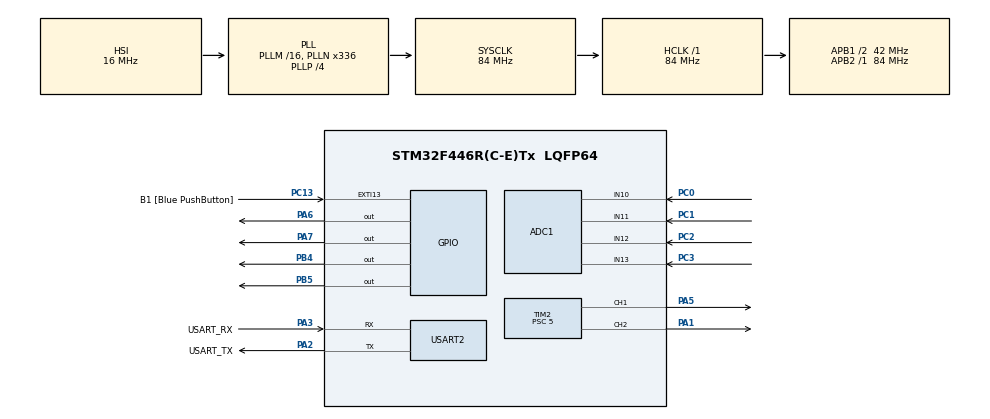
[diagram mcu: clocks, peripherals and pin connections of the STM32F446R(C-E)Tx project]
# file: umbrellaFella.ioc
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ADC1.Channel-0\#ChannelRegularConversion=ADC_CHANNEL_10
ADC1.InjNumberOfConversion=0
ADC1.NbrOfConversion=1
ADC1.NbrOfConversionFlag=1
ADC1.Rank-0\#ChannelRegularConversion=1
ADC1.SamplingTime-0\#ChannelRegularConversion=ADC_SAMPLETIME_3CYCLES
ADC1.ScanConvMode=DISABLE
ADC1.master=1
Mcu.Family=STM32F4
Mcu.Name=STM32F446R(C-E)Tx
Mcu.Package=LQFP64
NVIC.PriorityGroup=NVIC_PRIORITYGROUP_0
PA1.Signal=S_TIM2_CH2
PA13.GPIO_Label=TMS
PA13.Mode=Serial_Wire
PA13.Signal=SYS_JTMS-SWDIO
PA14.GPIO_Label=TCK
PA14.Mode=Serial_Wire
PA14.Signal=SYS_JTCK-SWCLK
PA2.GPIO_Label=USART_TX
PA2.Mode=Asynchronous
PA2.Signal=USART2_TX
PA3.GPIO_Label=USART_RX
PA3.Mode=Asynchronous
PA3.Signal=USART2_RX
PA5.Signal=S_TIM2_CH1_ETR
PA6.Signal=GPIO_Output
PA7.Signal=GPIO_Output
PB3.GPIO_Label=SWO
PB3.Signal=SYS_JTDO-SWO
PB4.Signal=GPIO_Output
PB5.Signal=GPIO_Output
PC0.Signal=ADCx_IN10
PC1.Signal=ADCx_IN11
PC13.GPIO_Label=B1 [Blue PushButton]
PC13.GPIO_ModeDefaultEXTI=GPIO_MODE_IT_FALLING
PC13.Signal=GPXTI13
PC14-OSC32_IN.Mode=LSE-External-Oscillator
PC14-OSC32_IN.Signal=RCC_OSC32_IN
PC15-OSC32_OUT.Mode=LSE-External-Oscillator
PC15-OSC32_OUT.Signal=RCC_OSC32_OUT
PC2.Signal=ADCx_IN12
PC3.Signal=ADCx_IN13
PH0-OSC_IN.Mode=HSE-External-Oscillator
PH0-OSC_IN.Signal=RCC_OSC_IN
PH1-OSC_OUT.Mode=HSE-External-Oscillator
PH1-OSC_OUT.Signal=RCC_OSC_OUT
ProjectManager.HeapSize=0x200
ProjectManager.StackSize=0x400
ProjectManager.TargetToolchain=STM32CubeIDE
RCC.48MHZClocksFreq_Value=84000000
RCC.AHBFreq_Value=84000000
RCC.APB1CLKDivider=RCC_HCLK_DIV2
RCC.APB1Freq_Value=42000000
RCC.APB1TimFreq_Value=84000000
RCC.APB2Freq_Value=84000000
RCC.APB2TimFreq_Value=84000000
RCC.CortexFreq_Value=84000000
RCC.FLatency-AdvancedSettings=FLASH_LATENCY_2
RCC.HCLKFreq_Value=84000000
RCC.HSE_VALUE=8000000
RCC.HSI_VALUE=16000000
RCC.PLLN=336
RCC.PLLP=RCC_PLLP_DIV4
RCC.SYSCLKFreq_VALUE=84000000
RCC.SYSCLKSource=RCC_SYSCLKSOURCE_PLLCLK
RCC.USBFreq_Value=168000000
RCC.VCOOutputFreq_Value=336000000
SH.ADCx_IN10.0=ADC1_IN10,IN10
SH.ADCx_IN11.0=ADC1_IN11,IN11
SH.ADCx_IN12.0=ADC1_IN12,IN12
SH.ADCx_IN13.0=ADC1_IN13,IN13
SH.S_TIM2_CH1_ETR.0=TIM2_CH1,PWM Generation1 CH1
SH.S_TIM2_CH2.0=TIM2_CH2,PWM Generation2 CH2
TIM2.Channel-PWM\ Generation1\ CH1=TIM_CHANNEL_1
TIM2.Channel-PWM\ Generation2\ CH2=TIM_CHANNEL_2
TIM2.Period=874
TIM2.Prescaler=5
USART2.VirtualMode=VM_ASYNC
board=NUCLEO-F446RE

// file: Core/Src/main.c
/* USER CODE BEGIN Header */
/**
  ******************************************************************************
  * @file           : main.c
  * @brief          : Main program body
  ******************************************************************************
  * @attention
  *
  * Copyright (c) 2025 STMicroelectronics.
  * All rights reserved.
  *
  * This software is licensed under terms that can be found in the LICENSE file
  * in the root directory of this software component.
  * If no LICENSE file comes with this software, it is provided AS-IS.
  *
  ******************************************************************************
  */
/* USER CODE END Header */
#include "main.h"

/* USER CODE BEGIN Includes */
#include<stdio.h>
#include<math.h>
#include<stdlib.h>
/* USER CODE END Includes */

ADC_HandleTypeDef hadc1;

TIM_HandleTypeDef htim2;

UART_HandleTypeDef huart2;

void SystemClock_Config(void);
static void MX_GPIO_Init(void);
static void MX_USART2_UART_Init(void);
static void MX_ADC1_Init(void);
static void MX_TIM2_Init(void);
/* USER CODE BEGIN PFP */

	uint32_t read_adc_channel(uint32_t channel) {
		ADC_ChannelConfTypeDef sConfig = {0};

		sConfig.Channel = channel;			//Cycles setting different channels to read
		sConfig.Rank = 1;					//Prioritizes current channel
		sConfig.SamplingTime = ADC_SAMPLETIME_3CYCLES;
		sConfig.Offset = 0;

		//If channel configuration fails enter error handler
		if(HAL_ADC_ConfigChannel(&hadc1, &sConfig) != HAL_OK) {
			Error_Handler();
		}

		HAL_ADC_Start(&hadc1);
		HAL_ADC_PollForConversion(&hadc1, HAL_MAX_DELAY);
		return HAL_ADC_GetValue(&hadc1);

	}

	int __io_putchar(int ch)
	{
	    HAL_UART_Transmit(&huart2, (uint8_t *)&ch, 1, HAL_MAX_DELAY);
	    return ch;
	}
/* USER CODE END PFP */

int main(void)
{

  /* MCU Configuration--------------------------------------------------------*/

  /* Reset of all peripherals, Initializes the Flash interface and the Systick. */
  HAL_Init();

  /* Configure the system clock */
  SystemClock_Config();

  /* Initialize all configured peripherals */
  MX_GPIO_Init();
  MX_USART2_UART_Init();
  MX_ADC1_Init();
  MX_TIM2_Init();
  /* USER CODE BEGIN 2 */
  HAL_TIM_PWM_Start(&htim2, TIM_CHANNEL_1);
  HAL_TIM_PWM_Start(&htim2, TIM_CHANNEL_2);

	 unsigned int arr = __HAL_TIM_GET_AUTORELOAD(&htim2);
	 int n, s, e, w;
	 GPIO_PinState inA_ns, inB_ns, inA_ew, inB_ew;
	 int nsDiff, ewDiff;
	 int CCR_ch1, CCR_ch2;
	 int pwmMax = (int)(0.85*arr);
	 int pwmMin = (int)(0.25*arr);
	 int pwmStart = 100;
	 int pwmDead = 75;
	 int maxDiff = 340;
  /* USER CODE END 2 */

  /* Infinite loop */
  /* USER CODE BEGIN WHILE */
  while (1)
  {
	  n = read_adc_channel(ADC_CHANNEL_10);
	  s = read_adc_channel(ADC_CHANNEL_11);
	  w = read_adc_channel(ADC_CHANNEL_12);
	  e = read_adc_channel(ADC_CHANNEL_13);
	  nsDiff = n-s;
	  ewDiff = e-w;
//==============================Linear Actuator(NORTH/SOUTH)===================================
	  //If difference is greater than 100 start
	  if(abs(nsDiff) >= pwmStart) {

		  //If difference is greater than 340 clamp to max PWM speed
		  if(abs(nsDiff) > maxDiff){
			  //Handles direction based on the NORTH/SOUTH difference sign (MAX PWM)
			  if(nsDiff > 0) {
				  HAL_GPIO_WritePin(GPIOA, GPIO_PIN_6, GPIO_PIN_SET);
				  HAL_GPIO_WritePin(GPIOA, GPIO_PIN_7, GPIO_PIN_RESET);
				  CCR_ch1 = pwmMax;
				  __HAL_TIM_SET_COMPARE(&htim2, TIM_CHANNEL_1, CCR_ch1);

				  //Reading H-bridge directional pins into variables for debugging
				  inA_ns = HAL_GPIO_ReadPin(GPIOA, GPIO_PIN_6);
				  inB_ns = HAL_GPIO_ReadPin(GPIOA, GPIO_PIN_7);
			  }
			  //If difference is negative reverse direction of linear actuator at max PWM
			  else {
				  HAL_GPIO_WritePin(GPIOA, GPIO_PIN_6, GPIO_PIN_RESET);
				  HAL_GPIO_WritePin(GPIOA, GPIO_PIN_7, GPIO_PIN_SET);
				  CCR_ch1 = pwmMax;
				  __HAL_TIM_SET_COMPARE(&htim2, TIM_CHANNEL_1, CCR_ch1);

				  //Reading H-bridge directional pins into variables for debugging
				  inA_ns = HAL_GPIO_ReadPin(GPIOA, GPIO_PIN_6);
				  inB_ns = HAL_GPIO_ReadPin(GPIOA, GPIO_PIN_7);
			  }
		  }
		  //Handles direction based on the NORTH/SOUTH difference sign (Variable PWN)
		  else if(nsDiff > 0) {
			  //Tilt South (set GPIO pin for forward direction INA and clear INB)
			  HAL_GPIO_WritePin(GPIOA, GPIO_PIN_6, GPIO_PIN_SET);
			  HAL_GPIO_WritePin(GPIOA, GPIO_PIN_7, GPIO_PIN_RESET);
			  CCR_ch1 = pwmMin + ((pwmMax-pwmMin)*abs(nsDiff)) / maxDiff;
			  __HAL_TIM_SET_COMPARE(&htim2, TIM_CHANNEL_1, CCR_ch1);

			  //Reading H-bridge directional pins into variables for debugging
			  inA_ns = HAL_GPIO_ReadPin(GPIOA, GPIO_PIN_6);
			  inB_ns = HAL_GPIO_ReadPin(GPIOA, GPIO_PIN_7);
		  }
		  //If difference is negative reverse direction of linear actuator at variable PWM
		  else {
			  //Tilt North (set GPIO pin for reverse direction INB and clear INA)
			  HAL_GPIO_WritePin(GPIOA, GPIO_PIN_6, GPIO_PIN_RESET);
			  HAL_GPIO_WritePin(GPIOA, GPIO_PIN_7, GPIO_PIN_SET);
			  CCR_ch1 = pwmMin + ((pwmMax-pwmMin)*abs(nsDiff)) / maxDiff;
			  __HAL_TIM_SET_COMPARE(&htim2, TIM_CHANNEL_1, CCR_ch1);

			  //Reading H-bridge directional pins into variables for debugging
			  inA_ns = HAL_GPIO_ReadPin(GPIOA, GPIO_PIN_6);
			  inB_ns = HAL_GPIO_ReadPin(GPIOA, GPIO_PIN_7);
		  }
	  }
	  //If difference is less than 70 stop the linear actuator
	  else if(abs(nsDiff) < pwmDead) {
		  CCR_ch1 = 0;
		  __HAL_TIM_SET_COMPARE(&htim2, TIM_CHANNEL_1, CCR_ch1);
		  HAL_GPIO_WritePin(GPIOA, GPIO_PIN_6, GPIO_PIN_RESET);
		  HAL_GPIO_WritePin(GPIOA, GPIO_PIN_7, GPIO_PIN_RESET);

		  //Reading H-bridge directional pins into variables for debugging
		  inA_ns = HAL_GPIO_ReadPin(GPIOA, GPIO_PIN_6);
		  inB_ns = HAL_GPIO_ReadPin(GPIOA, GPIO_PIN_7);
	  }
//=====================================================================================
//==============================WORM GEAR(EAST/WEST)===================================
	  //If difference is greater than 100 start
	  if(abs(ewDiff) >= pwmStart) {
		  //If difference is greater than 340 clamp to max PWM speed
		  if(abs(ewDiff) > maxDiff){
			  //Handles direction based on the EAST/WEST difference sign (MAX PWM)
			  if(ewDiff > 0) {
				  HAL_GPIO_WritePin(GPIOB, GPIO_PIN_4, GPIO_PIN_SET);
				  HAL_GPIO_WritePin(GPIOB, GPIO_PIN_5, GPIO_PIN_RESET);
				  CCR_ch2 = pwmMax;
				  __HAL_TIM_SET_COMPARE(&htim2, TIM_CHANNEL_2, CCR_ch2);

				  //Reading H-bridge directional pins into variables for debugging
				  inA_ew = HAL_GPIO_ReadPin(GPIOB, GPIO_PIN_4);
				  inB_ew = HAL_GPIO_ReadPin(GPIOB, GPIO_PIN_5);
			  }
			  //If difference is negative reverse direction of worm gear at max PWM
			  else {
				  HAL_GPIO_WritePin(GPIOB, GPIO_PIN_4, GPIO_PIN_RESET);
				  HAL_GPIO_WritePin(GPIOB, GPIO_PIN_5, GPIO_PIN_SET);
				  CCR_ch2 = pwmMax;
				  __HAL_TIM_SET_COMPARE(&htim2, TIM_CHANNEL_2, CCR_ch2);

				  //Reading H-bridge directional pins into variables for debugging
				  inA_ew = HAL_GPIO_ReadPin(GPIOB, GPIO_PIN_4);
				  inB_ew = HAL_GPIO_ReadPin(GPIOB, GPIO_PIN_5);
			  }
		  }
		  //Handles direction based on the EAST/WEST difference sign (Variable PWM)
		  else if(ewDiff > 0) {
			  //Tilt West (set GPIO pin for forward direction INA and clear INB)
			  HAL_GPIO_WritePin(GPIOB, GPIO_PIN_4, GPIO_PIN_SET);
			  HAL_GPIO_WritePin(GPIOB, GPIO_PIN_5, GPIO_PIN_RESET);
			  CCR_ch2 = pwmMin + ((pwmMax-pwmMin)*abs(ewDiff)) / maxDiff;
			  __HAL_TIM_SET_COMPARE(&htim2, TIM_CHANNEL_2, CCR_ch2);

			  //Reading H-bridge directional pins into variables for debugging
			  inA_ew = HAL_GPIO_ReadPin(GPIOB, GPIO_PIN_4);
			  inB_ew = HAL_GPIO_ReadPin(GPIOB, GPIO_PIN_5);
		  }
		  //If difference is negative reverse direction of worm gear at variable PWM
		  else {
			  //Tilt East (set GPIO pin for reverse direction INB and clear INA)
			  HAL_GPIO_WritePin(GPIOB, GPIO_PIN_4, GPIO_PIN_RESET);
			  HAL_GPIO_WritePin(GPIOB, GPIO_PIN_5, GPIO_PIN_SET);
			  CCR_ch2 = pwmMin + ((pwmMax-pwmMin)*abs(ewDiff)) / maxDiff;
			  __HAL_TIM_SET_COMPARE(&htim2, TIM_CHANNEL_2, CCR_ch2);

			  //Reading H-bridge directional pins into variables for debugging
			  inA_ew = HAL_GPIO_ReadPin(GPIOB, GPIO_PIN_4);
			  inB_ew = HAL_GPIO_ReadPin(GPIOB, GPIO_PIN_5);
		  }
	  }
	  //If difference is less than 70 stop the worm gear
	  else if(abs(ewDiff) < pwmDead) {
		  CCR_ch2 = 0;
		  __HAL_TIM_SET_COMPARE(&htim2, TIM_CHANNEL_2, CCR_ch2);
		  HAL_GPIO_WritePin(GPIOB, GPIO_PIN_4, GPIO_PIN_RESET);
		  HAL_GPIO_WritePin(GPIOB, GPIO_PIN_5, GPIO_PIN_RESET);

		  //Reading H-bridge directional pins into variables for debugging
		  inA_ew = HAL_GPIO_ReadPin(GPIOB, GPIO_PIN_4);
		  inB_ew = HAL_GPIO_ReadPin(GPIOB, GPIO_PIN_5);
	  }
//=====================================================================================
	printf("Linear Actuator Value: %4d|Worm Gear Value: %4d|nsDiff: %4d|ewDiff: %4d|Extend(LA): %4d Retract(LA): %4d| Forward(WG): %4d Reverse(WG): %4d\r\n", CCR_ch1, CCR_ch2, nsDiff, ewDiff, inA_ns, inB_ns, inA_ew, inB_ew);
	HAL_Delay(1000);

    /* USER CODE END WHILE */

  }
}

void SystemClock_Config(void)
{
  RCC_OscInitTypeDef RCC_OscInitStruct = {0};
  RCC_ClkInitTypeDef RCC_ClkInitStruct = {0};

  /** Configure the main internal regulator output voltage
  */
  __HAL_RCC_PWR_CLK_ENABLE();
  __HAL_PWR_VOLTAGESCALING_CONFIG(PWR_REGULATOR_VOLTAGE_SCALE3);

  /** Initializes the RCC Oscillators according to the specified parameters
  * in the RCC_OscInitTypeDef structure.
  */
  RCC_OscInitStruct.OscillatorType = RCC_OSCILLATORTYPE_HSI;
  RCC_OscInitStruct.HSIState = RCC_HSI_ON;
  RCC_OscInitStruct.HSICalibrationValue = RCC_HSICALIBRATION_DEFAULT;
  RCC_OscInitStruct.PLL.PLLState = RCC_PLL_ON;
  RCC_OscInitStruct.PLL.PLLSource = RCC_PLLSOURCE_HSI;
  RCC_OscInitStruct.PLL.PLLM = 16;
  RCC_OscInitStruct.PLL.PLLN = 336;
  RCC_OscInitStruct.PLL.PLLP = RCC_PLLP_DIV4;
  RCC_OscInitStruct.PLL.PLLQ = 2;
  RCC_OscInitStruct.PLL.PLLR = 2;
  if (HAL_RCC_OscConfig(&RCC_OscInitStruct) != HAL_OK)
  {
    Error_Handler();
  }

  /** Initializes the CPU, AHB and APB buses clocks
  */
  RCC_ClkInitStruct.ClockType = RCC_CLOCKTYPE_HCLK|RCC_CLOCKTYPE_SYSCLK
                              |RCC_CLOCKTYPE_PCLK1|RCC_CLOCKTYPE_PCLK2;
  RCC_ClkInitStruct.SYSCLKSource = RCC_SYSCLKSOURCE_PLLCLK;
  RCC_ClkInitStruct.AHBCLKDivider = RCC_SYSCLK_DIV1;
  RCC_ClkInitStruct.APB1CLKDivider = RCC_HCLK_DIV2;
  RCC_ClkInitStruct.APB2CLKDivider = RCC_HCLK_DIV1;

  if (HAL_RCC_ClockConfig(&RCC_ClkInitStruct, FLASH_LATENCY_2) != HAL_OK)
  {
    Error_Handler();
  }
}

static void MX_ADC1_Init(void)
{

  ADC_ChannelConfTypeDef sConfig = {0};

  /** Configure the global features of the ADC (Clock, Resolution, Data Alignment and number of conversion)
  */
  hadc1.Instance = ADC1;
  hadc1.Init.ClockPrescaler = ADC_CLOCK_SYNC_PCLK_DIV4;
  hadc1.Init.Resolution = ADC_RESOLUTION_12B;
  hadc1.Init.ScanConvMode = DISABLE;
  hadc1.Init.ContinuousConvMode = DISABLE;
  hadc1.Init.DiscontinuousConvMode = DISABLE;
  hadc1.Init.ExternalTrigConvEdge = ADC_EXTERNALTRIGCONVEDGE_NONE;
  hadc1.Init.ExternalTrigConv = ADC_SOFTWARE_START;
  hadc1.Init.DataAlign = ADC_DATAALIGN_RIGHT;
  hadc1.Init.NbrOfConversion = 1;
  hadc1.Init.DMAContinuousRequests = DISABLE;
  hadc1.Init.EOCSelection = ADC_EOC_SINGLE_CONV;
  if (HAL_ADC_Init(&hadc1) != HAL_OK)
  {
    Error_Handler();
  }

  /** Configure for the selected ADC regular channel its corresponding rank in the sequencer and its sample time.
  */
  sConfig.Channel = ADC_CHANNEL_10;
  sConfig.Rank = 1;
  sConfig.SamplingTime = ADC_SAMPLETIME_3CYCLES;
  if (HAL_ADC_ConfigChannel(&hadc1, &sConfig) != HAL_OK)
  {
    Error_Handler();
  }

}

static void MX_TIM2_Init(void)
{

  TIM_MasterConfigTypeDef sMasterConfig = {0};
  TIM_OC_InitTypeDef sConfigOC = {0};

  htim2.Instance = TIM2;
  htim2.Init.Prescaler = 5;
  htim2.Init.CounterMode = TIM_COUNTERMODE_UP;
  htim2.Init.Period = 874;
  htim2.Init.ClockDivision = TIM_CLOCKDIVISION_DIV1;
  htim2.Init.AutoReloadPreload = TIM_AUTORELOAD_PRELOAD_DISABLE;
  if (HAL_TIM_PWM_Init(&htim2) != HAL_OK)
  {
    Error_Handler();
  }
  sMasterConfig.MasterOutputTrigger = TIM_TRGO_RESET;
  sMasterConfig.MasterSlaveMode = TIM_MASTERSLAVEMODE_DISABLE;
  if (HAL_TIMEx_MasterConfigSynchronization(&htim2, &sMasterConfig) != HAL_OK)
  {
    Error_Handler();
  }
  sConfigOC.OCMode = TIM_OCMODE_PWM1;
  sConfigOC.Pulse = 0;
  sConfigOC.OCPolarity = TIM_OCPOLARITY_HIGH;
  sConfigOC.OCFastMode = TIM_OCFAST_DISABLE;
  if (HAL_TIM_PWM_ConfigChannel(&htim2, &sConfigOC, TIM_CHANNEL_1) != HAL_OK)
  {
    Error_Handler();
  }
  if (HAL_TIM_PWM_ConfigChannel(&htim2, &sConfigOC, TIM_CHANNEL_2) != HAL_OK)
  {
    Error_Handler();
  }
  HAL_TIM_MspPostInit(&htim2);

}

static void MX_USART2_UART_Init(void)
{

  huart2.Instance = USART2;
  huart2.Init.BaudRate = 115200;
  huart2.Init.WordLength = UART_WORDLENGTH_8B;
  huart2.Init.StopBits = UART_STOPBITS_1;
  huart2.Init.Parity = UART_PARITY_NONE;
  huart2.Init.Mode = UART_MODE_TX_RX;
  huart2.Init.HwFlowCtl = UART_HWCONTROL_NONE;
  huart2.Init.OverSampling = UART_OVERSAMPLING_16;
  if (HAL_UART_Init(&huart2) != HAL_OK)
  {
    Error_Handler();
  }

}

static void MX_GPIO_Init(void)
{
  GPIO_InitTypeDef GPIO_InitStruct = {0};

  /* GPIO Ports Clock Enable */
  __HAL_RCC_GPIOC_CLK_ENABLE();
  __HAL_RCC_GPIOH_CLK_ENABLE();
  __HAL_RCC_GPIOA_CLK_ENABLE();
  __HAL_RCC_GPIOB_CLK_ENABLE();

  /*Configure GPIO pin Output Level */
  HAL_GPIO_WritePin(GPIOA, GPIO_PIN_6|GPIO_PIN_7, GPIO_PIN_RESET);

  /*Configure GPIO pin Output Level */
  HAL_GPIO_WritePin(GPIOB, GPIO_PIN_4|GPIO_PIN_5, GPIO_PIN_RESET);

  /*Configure GPIO pin : B1_Pin */
  GPIO_InitStruct.Pin = B1_Pin;
  GPIO_InitStruct.Mode = GPIO_MODE_IT_FALLING;
  GPIO_InitStruct.Pull = GPIO_NOPULL;
  HAL_GPIO_Init(B1_GPIO_Port, &GPIO_InitStruct);

  /*Configure GPIO pins : PA6 PA7 */
  GPIO_InitStruct.Pin = GPIO_PIN_6|GPIO_PIN_7;
  GPIO_InitStruct.Mode = GPIO_MODE_OUTPUT_PP;
  GPIO_InitStruct.Pull = GPIO_NOPULL;
  GPIO_InitStruct.Speed = GPIO_SPEED_FREQ_LOW;
  HAL_GPIO_Init(GPIOA, &GPIO_InitStruct);

  /*Configure GPIO pins : PB4 PB5 */
  GPIO_InitStruct.Pin = GPIO_PIN_4|GPIO_PIN_5;
  GPIO_InitStruct.Mode = GPIO_MODE_OUTPUT_PP;
  GPIO_InitStruct.Pull = GPIO_NOPULL;
  GPIO_InitStruct.Speed = GPIO_SPEED_FREQ_LOW;
  HAL_GPIO_Init(GPIOB, &GPIO_InitStruct);

}

void Error_Handler(void)
{
  __disable_irq();
  while (1)
  {
  }
}
